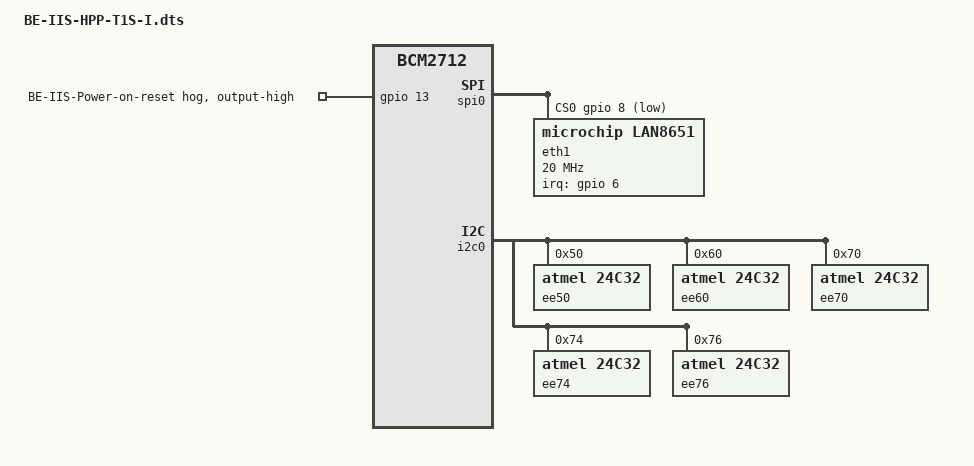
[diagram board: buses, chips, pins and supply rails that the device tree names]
// Raspberry Pi DT overlay: Microchip LAN8651/LAN8650 on SPI0 (CE0)
// IRQ: BCM GPIO6 (falling edge)
// SPI must be enabled in config.txt:
//     dtparam=spi=on
//
// Supported Raspberry Pi models (SPI0-based):
//   - Raspberry Pi Zero / Zero W / Zero 2 W
//   - Raspberry Pi 1 (A/B/B+)
//   - Raspberry Pi 2 (v1.1 / v1.2)
//   - Raspberry Pi 3 (3A+, 3B, 3B+)
//   - Raspberry Pi 4 (4B, 400, CM4)
//   - Raspberry Pi 5
//
// Notes:
//   - Uses SPI0 + CE0
//   - Uses BCM GPIO numbering
//   - Works across bcm2835 / bcm2711 / bcm2712


/dts-v1/;
/plugin/;

#include <dt-bindings/interrupt-controller/irq.h>
#include <dt-bindings/gpio/gpio.h>

/ {
	/*
	 * RPi firmware doesn’t really *use* this for overlays, but keeping it sane helps.
	 * Works across Pi Zero / 2 / 3 / 4 / 5
	 */
	compatible = "brcm,bcm2835", "brcm,bcm2711", "brcm,bcm2712";

	fragment@0 {
		target = <&spi0>;
		__overlay__ {
			/* avoid dtc warnings */
			#address-cells = <1>;
			#size-cells = <0>;
			status = "okay";
			

			/* Extend SPI0 to 3 chip-selects */
			num-cs = <3>;
			cs-gpios =
				<&gpio 8  GPIO_ACTIVE_LOW>,   /* CE0 */
				<&gpio 7  GPIO_ACTIVE_LOW>,   /* CE1 */
				<&gpio 16 GPIO_ACTIVE_LOW>;   /* CS2 */

			/*
			 * LAN865x on SPI0, chip select 0 (CE0)
			 * Interrupt on GPIO6, falling edge
			 */
			eth1: ethernet@0 {
				compatible = "microchip,lan8651", "microchip,lan8650";
				reg = <0>; /* CE0 */
				
			    	pinctrl-names = "default";
			    	pinctrl-0 = <&be_iis_shared_irq_pins>;

				interrupt-parent = <&gpio>;
				interrupts = <6 IRQ_TYPE_EDGE_FALLING>;

				/* optional: set a fixed MAC (better: let it be set by userspace) */
				/* local-mac-address = [04 05 06 01 02 03]; */

				/* LAN865x TC6 SPI clock; start conservative if unsure */
				spi-max-frequency = <20000000>;

				status = "okay";
			};
		};
	};

	/* disable spidev on CE0 because CE0 is used by this BE-IIS HAT++ device */
	fragment@1 {
		target = <&spidev0>;
		__overlay__ {
			status = "disabled";
		};
	};
	/* GPIO5,GPIO6,GPIO12,GPIO17,GPIO27 as input, no pull (IRQ pin) */
	fragment@2 {
	    target = <&gpio>;
	    __overlay__ {
		be_iis_shared_irq_pins: be-iis-shared-irq-pins {
			brcm,pins = <5 6 12 17 27>;
			brcm,function = <0 0 0 0 0>;
			brcm,pull = <2 2 2 2 2>;
		};
	    };
	};
	
	/* disable spidev on CE1 to keep the second chip-select free for BE-IIS HAT++ use */
	fragment@3 {
		target = <&spidev1>;
		__overlay__ {
		status = "disabled";
		};
	};

	fragment@9 {
	target = <&i2c0>;
	__overlay__ {
		#address-cells = <1>;
		#size-cells = <0>;

		ee50: eeprom@50 {
			compatible = "atmel,24c32";
			reg = <0x50>;
			status = "okay";
		};
		
		ee60: eeprom@60 {
			compatible = "atmel,24c32";
			reg = <0x60>;
			status = "okay";
		};

		ee70: eeprom@70 {
			compatible = "atmel,24c32";
			reg = <0x70>;
			status = "okay";
		};
		
		ee74: eeprom@74 {
			compatible = "atmel,24c32";
			reg = <0x74>;
			status = "okay";
		};
		
		ee76: eeprom@76 {
			compatible = "atmel,24c32";
			reg = <0x76>;
			status = "okay";
		};
	};
};

fragment@10 {
	target = <&gpio>;
	__overlay__ {
		be_iis_porst: be-iis-porst {
			gpio-hog;
			gpios = <13 GPIO_ACTIVE_HIGH>;
			output-high;
			line-name = "BE-IIS-Power-on-reset";
		};
	};
};

	__overrides__ {

		/* dtoverlay=lan8651,speed=200000000 */
		speed    = <&eth1>, "spi-max-frequency:0";
	};
};

